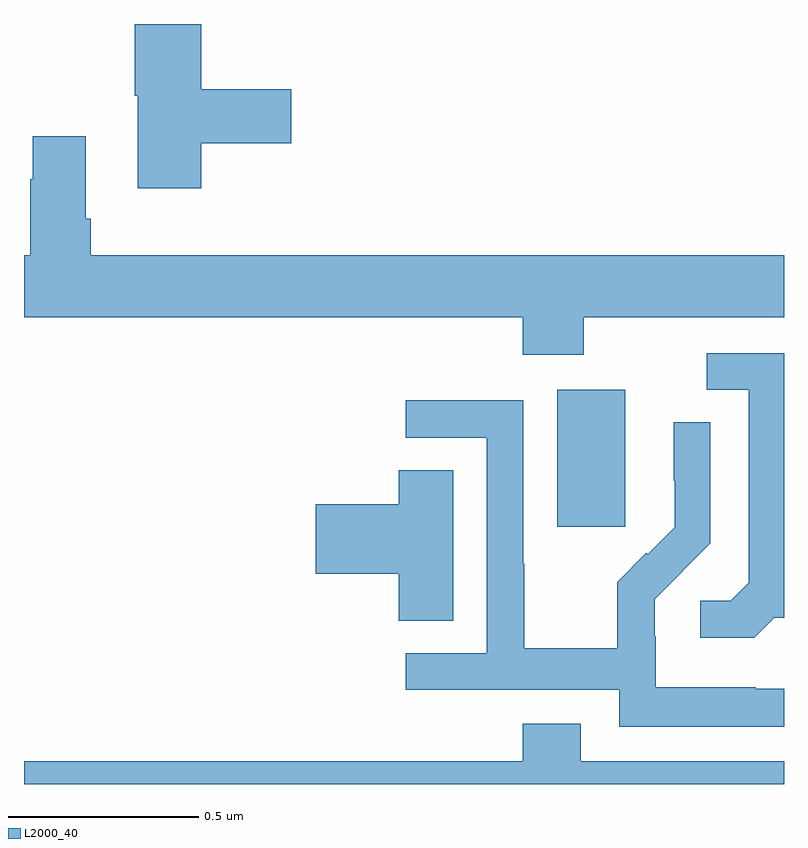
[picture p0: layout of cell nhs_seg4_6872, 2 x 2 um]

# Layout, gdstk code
import gdstk
lib = gdstk.Library(unit=1e-6, precision=1e-09)
def R(c, l, rs):  # rectangles x0, y0, x1, y1
    for r in rs: c.add(gdstk.rectangle(r[:2], r[2:], *l))
def P(c, l, *ps):  # polygons
    for p in ps: c.add(gdstk.Polygon(p, *l))
L2000_40 = (2000, 40)

nhs_seg4_6872 = lib.new_cell('nhs_seg4_6872')
R(nhs_seg4_6872, L2000_40, [(196.403,821.577,196.582,821.938)])
P(nhs_seg4_6872, L2000_40, [(195.467,822.586),(195.703,822.586),(195.703,822.728),(195.467,822.728),(195.467,822.9),(195.292,822.9),(195.292,822.711),(195.299,822.711),(195.299,822.468),(195.467,822.468)],
  [(196.473,822.128),(197,822.128),(197,822.292),(195.176,822.292),(195.176,822.388),(195.163,822.388),(195.163,822.604),(195.023,822.604),(195.023,822.491),(195.016,822.491),(195.016,822.292),(195,822.292),(195,822.128),(196.313,822.128),(196.313,822.029),(196.473,822.029)],
  [(196.974,821.337),(197,821.337),(197,822.033),(196.797,822.033),(196.797,821.937),(196.907,821.937),(196.907,821.429),(196.86,821.382),(196.779,821.382),(196.779,821.285),(196.922,821.285)],
  [(197,821.151),(196.925,821.151),(196.925,821.155),(196.662,821.155),(196.662,821.289),(196.66,821.289),(196.66,821.386),(196.734,821.46),(196.733,821.461),(196.806,821.534),(196.806,821.852),(196.71,821.852),(196.71,821.698),(196.712,821.698),(196.712,821.576),(196.641,821.505),(196.638,821.508),(196.561,821.431),(196.561,821.257),(196.317,821.257),(196.317,821.48),(196.314,821.48),(196.314,821.91),(196.005,821.91),(196.005,821.811),(196.218,821.811),(196.218,821.244),(196.005,821.244),(196.005,821.148),(196.566,821.148),(196.566,821.051),(197,821.051)],
  [(196.129,821.726),(195.986,821.726),(195.986,821.636),(195.768,821.636),(195.768,821.453),(195.986,821.453),(195.986,821.329),(196.129,821.329)],
  [(197,820.96),(196.465,820.96),(196.465,821.059),(196.313,821.059),(196.313,820.96),(195,820.96),(195,820.9),(197,820.9)])

lib.write_gds('nhs_seg4_6872.gds')
